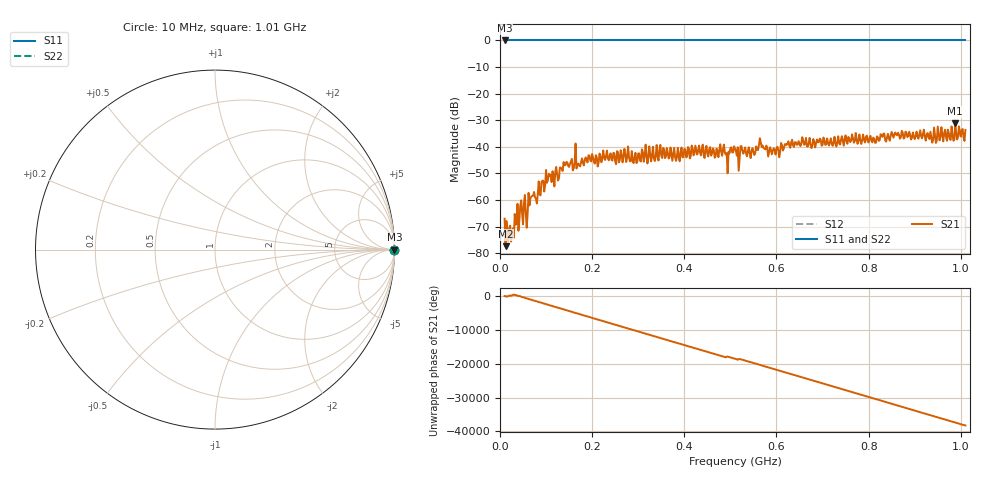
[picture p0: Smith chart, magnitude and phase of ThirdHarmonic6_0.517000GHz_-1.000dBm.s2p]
! 8/15/2025 3:52:19 PM
! C:\ANRITSUVNA\TEMP\TEMP.S2P
! CHANNEL.1
! TR.MEASUREMENT
! RAW.DATA
! RF.CORRECTION.OFF
! AVERAGING.OFF
! IF.BANDWIDTH: 5KHZ
! SWEEPTYPE:  FREQ.SWEEP(Linear)
! Reference Plane Port Info
! PORT:  PORT1  PORT2
! DISTANCE:  0  m  0  m
! TIME:  0  s  0  s
! PHASE.OFFSET:  0  deg.  0  deg.
! LOSS:  0  dB  0  dB
! REF.LOSS:  0  dB  0  dB
! REF.FREQ:  0  Hz  0  Hz
! Power Info
! POWER:  -20  dBm  -20  dBm
! EFF.POWER:  -20  dBm  -20  dBm
! SOURCE.ATTEN:  0  dB  0  dB
! TEST.ATTEN:  0  dB  0  dB
# GHZ S RI R 50.0
! FREQ.GHZ  S11RE  S11IM  S21RE  S21IM  S12RE  S12IM  S22RE  S22IM
!; PortSelection: Port_12
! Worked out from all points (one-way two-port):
!   501 points, 10 MHz to 1.01 GHz, reference 50 ohm
!   highest |S21| = -31.17 dB at 988 MHz (marker M1); lowest = -77.4 dB at 12 MHz (marker M2)
!   lowest |S11| = 0.0 dB at 10 MHz (marker M3)
!   |S11| at or under -10 dB: nowhere
!   |S22| runs from 0.0 to 0.0 dB; largest |S21 - S12| = 1
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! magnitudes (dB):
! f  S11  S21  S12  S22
! 10 MHz  0.0  -67.0  0.0  0.0
! 12 MHz  0.0  -77.4  0.0  0.0
! 26 MHz  0.0  -73.6  0.0  0.0
! 42 MHz  0.0  -67.8  0.0  0.0
! 60 MHz  0.0  -65.0  0.0  0.0
! 66 MHz  0.0  -59.4  0.0  0.0
! 84 MHz  0.0  -53.0  0.0  0.0
! 104 MHz  0.0  -52.5  0.0  0.0
! 142 MHz  0.0  -46.9  0.0  0.0
! 178 MHz  0.0  -44.3  0.0  0.0
! 344 MHz  0.0  -45.2  0.0  0.0
! 386 MHz  0.0  -40.4  0.0  0.0
! 482 MHz  0.0  -43.4  0.0  0.0
! 494 MHz  0.0  -49.9  0.0  0.0
! 510 MHz  0.0  -40.7  0.0  0.0
! 516 MHz  0.0  -40.2  0.0  0.0
! 566 MHz  0.0  -38.5  0.0  0.0
! 586 MHz  0.0  -40.2  0.0  0.0
! 678 MHz  0.0  -39.3  0.0  0.0
! 844 MHz  0.0  -36.9  0.0  0.0
! 988 MHz  0.0  -31.2  0.0  0.0
! 1.01 GHz  0.0  -33.6  0.0  0.0
